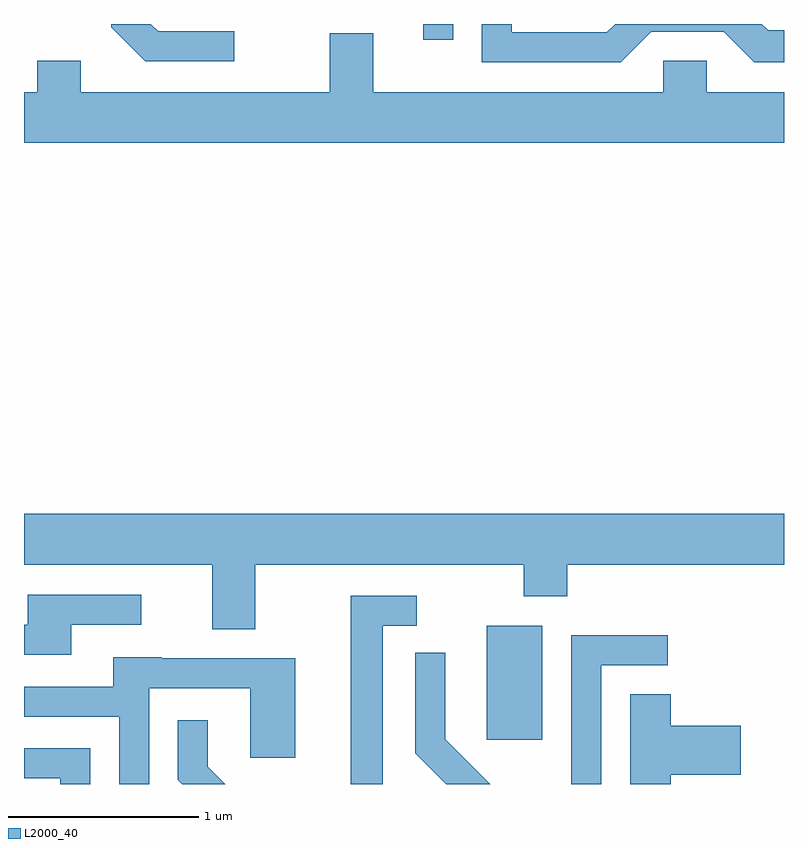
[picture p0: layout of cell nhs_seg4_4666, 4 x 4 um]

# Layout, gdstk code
import gdstk
lib = gdstk.Library(unit=1e-6, precision=1e-09)
def R(c, l, rs):  # rectangles x0, y0, x1, y1
    for r in rs: c.add(gdstk.rectangle(r[:2], r[2:], *l))
def P(c, l, *ps):  # polygons
    for p in ps: c.add(gdstk.Polygon(p, *l))
L2000_40 = (2000, 40)

nhs_seg4_4666 = lib.new_cell('nhs_seg4_4666')
R(nhs_seg4_4666, L2000_40, [(324.046,1338.216,324.339,1338.814), (323.711,1341.898,323.869,1341.982)])
P(nhs_seg4_4666, L2000_40, [(322.718,1341.944),(322.317,1341.944),(322.279,1341.982),(322.071,1341.982),(322.071,1341.964),(322.249,1341.786),(322.718,1341.786)],
  [(324.912,1341.941),(325.294,1341.941),(325.454,1341.781),(325.611,1341.781),(325.611,1341.949),(325.527,1341.949),(325.494,1341.982),(324.722,1341.982),(324.679,1341.939),(324.179,1341.939),(324.179,1341.982),(324.021,1341.982),(324.021,1341.781),(324.752,1341.781)],
  [(325.611,1341.624),(325.204,1341.624),(325.204,1341.789),(324.976,1341.789),(324.976,1341.624),(323.449,1341.624),(323.449,1341.934),(323.221,1341.934),(323.221,1341.624),(321.909,1341.624),(321.909,1341.789),(321.681,1341.789),(321.681,1341.624),(321.611,1341.624),(321.611,1341.356),(325.611,1341.356)],
  [(322.829,1339.136),(324.241,1339.136),(324.241,1338.971),(324.469,1338.971),(324.469,1339.136),(325.611,1339.136),(325.611,1339.404),(321.611,1339.404),(321.611,1339.136),(322.601,1339.136),(322.601,1338.796),(322.829,1338.796)],
  [(321.859,1338.821),(322.228,1338.821),(322.228,1338.979),(321.631,1338.979),(321.631,1338.819),(321.611,1338.819),(321.611,1338.661),(321.859,1338.661)],
  [(323.499,1338.816),(323.678,1338.816),(323.678,1338.974),(323.331,1338.974),(323.331,1337.982),(323.499,1337.982)],
  [(324.649,1338.606),(324.998,1338.606),(324.998,1338.764),(324.491,1338.764),(324.491,1337.982),(324.649,1337.982)],
  [(323.829,1338.217),(323.829,1338.673),(323.671,1338.673),(323.671,1338.144),(323.833,1337.982),(324.064,1337.982)],
  [(322.269,1338.486),(322.801,1338.486),(322.801,1338.121),(323.039,1338.121),(323.039,1338.644),(322.335,1338.644),(322.335,1338.649),(322.081,1338.649),(322.081,1338.494),(321.611,1338.494),(321.611,1338.336),(322.111,1338.336),(322.111,1337.982),(322.269,1337.982)],
  [(325.014,1338.031),(325.384,1338.031),(325.384,1338.289),(325.014,1338.289),(325.014,1338.454),(324.801,1338.454),(324.801,1337.982),(325.014,1337.982)],
  [(322.579,1338.072),(322.579,1338.318),(322.421,1338.318),(322.421,1338.004),(322.443,1337.982),(322.669,1337.982)],
  [(321.959,1338.169),(321.611,1338.169),(321.611,1338.011),(321.801,1338.011),(321.801,1337.982),(321.959,1337.982)])

lib.write_gds('nhs_seg4_4666.gds')
